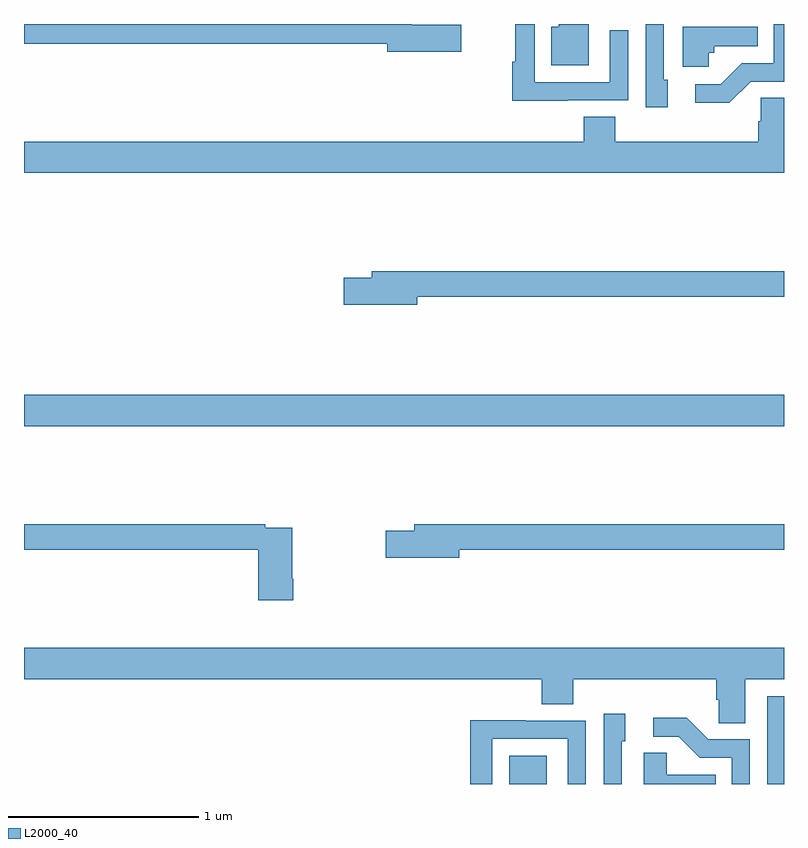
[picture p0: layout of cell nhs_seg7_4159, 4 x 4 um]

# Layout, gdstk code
import gdstk
lib = gdstk.Library(unit=1e-6, precision=1e-09)
def R(c, l, rs):  # rectangles x0, y0, x1, y1
    for r in rs: c.add(gdstk.rectangle(r[:2], r[2:], *l))
def P(c, l, *ps):  # polygons
    for p in ps: c.add(gdstk.Polygon(p, *l))
L2000_40 = (2000, 40)

nhs_seg7_4159 = lib.new_cell('nhs_seg7_4159')
R(nhs_seg7_4159, L2000_40, [(375.554,1064,375.751,1064.149), (376.911,1064,377,1064.463), (373,1065.884,377,1066.048)])
P(nhs_seg7_4159, L2000_40, [(375.863,1067.598),(376.179,1067.598),(376.179,1067.968),(376.083,1067.968),(376.083,1067.694),(375.687,1067.694),(375.687,1068),(375.586,1068),(375.586,1067.801),(375.571,1067.801),(375.571,1067.597),(375.863,1067.597)],
  [(376.824,1067.697),(377,1067.697),(377,1068),(376.947,1068),(376.947,1067.793),(376.778,1067.793),(376.667,1067.682),(376.533,1067.682),(376.533,1067.585),(376.711,1067.585)],
  [(376.387,1067.706),(376.368,1067.706),(376.368,1068),(376.272,1068),(376.272,1067.562),(376.387,1067.562)],
  [(375.301,1067.996),(375.04,1067.996),(375.04,1068),(373,1068),(373,1067.896),(374.912,1067.896),(374.912,1067.854),(375.301,1067.854)],
  [(375.973,1068),(375.815,1068),(375.815,1067.986),(375.776,1067.986),(375.776,1067.783),(375.973,1067.783)],
  [(376.605,1067.85),(376.632,1067.85),(376.632,1067.882),(376.862,1067.882),(376.862,1067.986),(376.466,1067.986),(376.466,1067.774),(376.605,1067.774)],
  [(377,1067.612),(376.878,1067.612),(376.878,1067.489),(376.865,1067.489),(376.865,1067.38),(376.112,1067.38),(376.112,1067.513),(375.947,1067.513),(375.947,1067.38),(373,1067.38),(373,1067.216),(377,1067.216)],
  [(375.07,1066.564),(377,1066.564),(377,1066.7),(374.831,1066.7),(374.831,1066.664),(374.682,1066.664),(374.682,1066.522),(375.07,1066.522)],
  [(374.417,1065.079),(374.412,1065.079),(374.412,1065.348),(374.27,1065.348),(374.27,1065.368),(373,1065.368),(373,1065.232),(374.234,1065.232),(374.234,1064.967),(374.417,1064.967)],
  [(375.292,1065.232),(377,1065.232),(377,1065.368),(375.053,1065.368),(375.053,1065.332),(374.904,1065.332),(374.904,1065.19),(375.292,1065.19)],
  [(376.795,1064.552),(377,1064.552),(377,1064.716),(373,1064.716),(373,1064.552),(375.725,1064.552),(375.725,1064.419),(375.89,1064.419),(375.89,1064.552),(376.643,1064.552),(376.643,1064.443),(376.656,1064.443),(376.656,1064.32),(376.795,1064.32)],
  [(376.146,1064.226),(376.165,1064.226),(376.165,1064.371),(376.05,1064.371),(376.05,1064),(376.146,1064)],
  [(376.821,1064.235),(376.602,1064.235),(376.489,1064.348),(376.311,1064.348),(376.311,1064.25),(376.445,1064.25),(376.556,1064.139),(376.725,1064.139),(376.725,1064),(376.821,1064)],
  [(375.465,1064.238),(375.861,1064.238),(375.861,1064),(375.957,1064),(375.957,1064.334),(375.641,1064.334),(375.641,1064.336),(375.349,1064.336),(375.349,1064),(375.465,1064)],
  [(376.64,1064.05),(376.383,1064.05),(376.383,1064.165),(376.262,1064.165),(376.262,1064),(376.64,1064)])

lib.write_gds('nhs_seg7_4159.gds')
